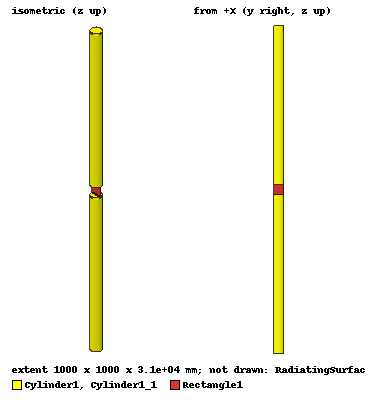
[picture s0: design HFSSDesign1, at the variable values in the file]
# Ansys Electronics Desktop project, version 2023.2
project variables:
  $Raduis = 0.5m
  $Length = 30m
  $Gap = 1m
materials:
  vacuum: permittivity=1
  copper: permeability=0.999991 conductivity=58000000

design HFSSDesign1 (HFSS, HFSS Terminal Network, model units mm)
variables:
  Gap = 1m
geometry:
  Cylinder1 [copper] = cylinder(axis=Z, base_centre=(0mm, 0mm, $Gap/2), radius=$Raduis, height=$Length/2)
  Cylinder1_1 [copper] = Cylinder1.duplicate_mirror(point=(0mm, 0mm, 0mm), normal=(0mm, 0mm, -1mm))
  Rectangle1 = rectangle(corner=(0mm, -$Raduis, -$Gap/2), y_size=2*$Raduis, z_size=$Gap)
  RadiatingSurface [vacuum] = region(absolute_offset=20mm on all sides)
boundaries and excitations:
  Open1: Radiation Objects=RadiatingSurface
  1: Lumped Port Objects=Rectangle1 LumpedPortType=Modal Modes{Mode1{IntLine{(0, 0, -0.5) -> (0, 0, 0.5)} CharImp=Zpi}} Impedance=50ohm
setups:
  Setup1: HfssDriven MultipleAdaptiveFreqsSetup{Low=1GHz High=10GHz} MaxDeltaS=0.02 MaximumPasses=6 MinimumPasses=1 MinimumConvergedPasses=1 PercentRefinement=30 BasisOrder=1 PortAccuracy=2 DrivenSolverType="Direct Solver"
    sweep Sweep: 1GHz to 10GHz, 401 points; Type=Interpolating InterpTolerance=0.5 InterpMaxSolns=250 PassivityErrorTolerance=0.0001
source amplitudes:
  1:1: 1V 0deg
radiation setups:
  3D: Infinite Sphere Theta=0deg..180deg step 2deg Phi=-180deg..180deg step 2deg
  Elevation: Infinite Sphere Theta=-180deg..180deg step 1deg Phi=0deg..90deg step 90deg
  Azimuth: Infinite Sphere Theta=90deg..90deg step 0deg Phi=-180deg..180deg step 1deg
